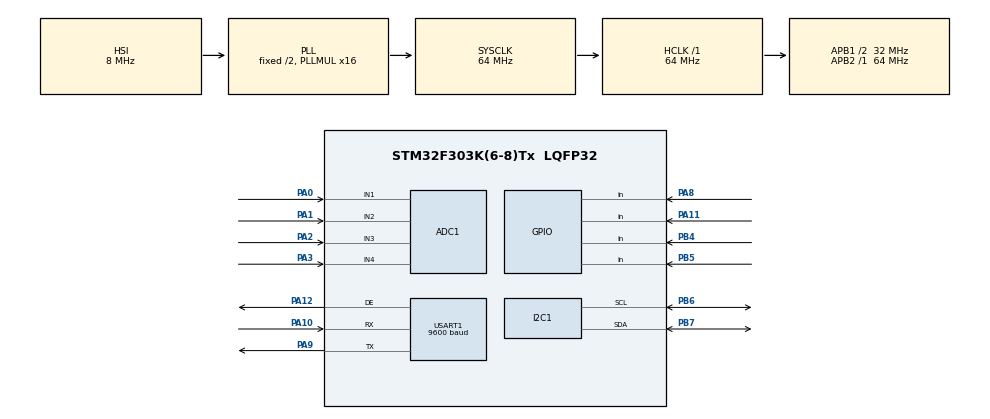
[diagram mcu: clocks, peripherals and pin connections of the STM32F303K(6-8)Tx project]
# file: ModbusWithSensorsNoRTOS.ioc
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ADC1.Channel-1\#ChannelRegularConversion=ADC_CHANNEL_4
ADC1.Channel-2\#ChannelRegularConversion=ADC_CHANNEL_1
ADC1.Channel-3\#ChannelRegularConversion=ADC_CHANNEL_1
ADC1.Channel-4\#ChannelRegularConversion=ADC_CHANNEL_1
ADC1.DMAContinuousRequests=ENABLE
ADC1.EnableAnalogWatchDog1=false
ADC1.NbrOfConversion=4
ADC1.NbrOfConversionFlag=1
ADC1.Offset-1\#ChannelRegularConversion=0
ADC1.Offset-2\#ChannelRegularConversion=0
ADC1.Offset-3\#ChannelRegularConversion=0
ADC1.Offset-4\#ChannelRegularConversion=0
ADC1.OffsetNumber-1\#ChannelRegularConversion=ADC_OFFSET_NONE
ADC1.OffsetNumber-2\#ChannelRegularConversion=ADC_OFFSET_NONE
ADC1.OffsetNumber-3\#ChannelRegularConversion=ADC_OFFSET_NONE
ADC1.OffsetNumber-4\#ChannelRegularConversion=ADC_OFFSET_NONE
ADC1.Rank-1\#ChannelRegularConversion=1
ADC1.Rank-2\#ChannelRegularConversion=2
ADC1.Rank-3\#ChannelRegularConversion=3
ADC1.Rank-4\#ChannelRegularConversion=4
ADC1.SamplingTime-1\#ChannelRegularConversion=ADC_SAMPLETIME_1CYCLE_5
ADC1.SamplingTime-2\#ChannelRegularConversion=ADC_SAMPLETIME_1CYCLE_5
ADC1.SamplingTime-3\#ChannelRegularConversion=ADC_SAMPLETIME_1CYCLE_5
ADC1.SamplingTime-4\#ChannelRegularConversion=ADC_SAMPLETIME_1CYCLE_5
ADC1.SamplingTimeOPAMP-2\#ChannelRegularConversion=ADC_SAMPLETIME_4CYCLES_5
ADC1.SamplingTimeOPAMP-3\#ChannelRegularConversion=ADC_SAMPLETIME_4CYCLES_5
ADC1.SamplingTimeOPAMP-4\#ChannelRegularConversion=ADC_SAMPLETIME_4CYCLES_5
ADC1.SubFamily=STM32F303x8
ADC1.master=1
Dma.ADC1.2.Direction=DMA_PERIPH_TO_MEMORY
Dma.ADC1.2.Instance=DMA1_Channel1
Dma.ADC1.2.MemDataAlignment=DMA_MDATAALIGN_HALFWORD
Dma.ADC1.2.MemInc=DMA_MINC_ENABLE
Dma.ADC1.2.Mode=DMA_CIRCULAR
Dma.ADC1.2.PeriphDataAlignment=DMA_PDATAALIGN_HALFWORD
Dma.ADC1.2.PeriphInc=DMA_PINC_DISABLE
Dma.ADC1.2.Priority=DMA_PRIORITY_LOW
Dma.Request0=USART1_RX
Dma.Request1=USART1_TX
Dma.Request2=ADC1
Dma.USART1_RX.0.Direction=DMA_PERIPH_TO_MEMORY
Dma.USART1_RX.0.Instance=DMA1_Channel5
Dma.USART1_RX.0.MemDataAlignment=DMA_MDATAALIGN_BYTE
Dma.USART1_RX.0.MemInc=DMA_MINC_ENABLE
Dma.USART1_RX.0.Mode=DMA_NORMAL
Dma.USART1_RX.0.PeriphDataAlignment=DMA_PDATAALIGN_BYTE
Dma.USART1_RX.0.PeriphInc=DMA_PINC_DISABLE
Dma.USART1_RX.0.Priority=DMA_PRIORITY_LOW
Dma.USART1_TX.1.Direction=DMA_MEMORY_TO_PERIPH
Dma.USART1_TX.1.Instance=DMA1_Channel4
Dma.USART1_TX.1.MemDataAlignment=DMA_MDATAALIGN_BYTE
Dma.USART1_TX.1.MemInc=DMA_MINC_ENABLE
Dma.USART1_TX.1.Mode=DMA_NORMAL
Dma.USART1_TX.1.PeriphDataAlignment=DMA_PDATAALIGN_BYTE
Dma.USART1_TX.1.PeriphInc=DMA_PINC_DISABLE
Dma.USART1_TX.1.Priority=DMA_PRIORITY_LOW
I2C1.Timing=0x10B17DB5
Mcu.Family=STM32F3
Mcu.Name=STM32F303K(6-8)Tx
Mcu.Package=LQFP32
NVIC.DMA1_Channel1_IRQn=true\:0\:0\:false\:false\:true\:false\:true\:true
NVIC.DMA1_Channel4_IRQn=true\:0\:0\:false\:false\:true\:false\:true\:true
NVIC.DMA1_Channel5_IRQn=true\:0\:0\:false\:false\:true\:false\:true\:true
NVIC.I2C1_ER_IRQn=true\:0\:0\:false\:false\:true\:true\:true\:true
NVIC.PriorityGroup=NVIC_PRIORITYGROUP_4
NVIC.TIM3_IRQn=true\:0\:0\:false\:false\:true\:true\:true\:true
NVIC.USART1_IRQn=true\:0\:0\:false\:false\:true\:true\:true\:true
PA0.Mode=IN1-Single-Ended
PA0.Signal=ADC1_IN1
PA1.Mode=IN2-Single-Ended
PA1.Signal=ADC1_IN2
PA10.Mode=Asynchronous
PA10.Signal=USART1_RX
PA11.Signal=GPIO_Input
PA12.Mode=Hardware Flow Control (RS485)
PA12.Signal=USART1_DE
PA2.Mode=IN3-Single-Ended
PA2.Signal=ADC1_IN3
PA3.Mode=IN4-Single-Ended
PA3.Signal=ADC1_IN4
PA8.Signal=GPIO_Input
PA9.Mode=Asynchronous
PA9.Signal=USART1_TX
PB4.Signal=GPIO_Input
PB5.Signal=GPIO_Input
PB6.GPIO_Pu=GPIO_PULLUP
PB6.Mode=I2C
PB6.Signal=I2C1_SCL
PB7.GPIO_Pu=GPIO_PULLUP
PB7.Mode=I2C
PB7.Signal=I2C1_SDA
ProjectManager.HeapSize=0x200
ProjectManager.StackSize=0x400
ProjectManager.TargetToolchain=STM32CubeIDE
RCC.ADC12PRES=RCC_ADC12PLLCLK_DIV2
RCC.AHBFreq_Value=64000000
RCC.APB1CLKDivider=RCC_HCLK_DIV2
RCC.APB1Freq_Value=32000000
RCC.APB1TimFreq_Value=64000000
RCC.APB2Freq_Value=64000000
RCC.APB2TimFreq_Value=64000000
RCC.CortexFreq_Value=64000000
RCC.HCLKFreq_Value=64000000
RCC.HSE_VALUE=8000000
RCC.HSI_VALUE=8000000
RCC.I2c1ClockSelection=RCC_I2C1CLKSOURCE_SYSCLK
RCC.PLLMUL=RCC_PLL_MUL16
RCC.SYSCLKFreq_VALUE=64000000
RCC.SYSCLKSourceVirtual=RCC_SYSCLKSOURCE_PLLCLK
RCC.Usart1ClockSelection=RCC_USART1CLKSOURCE_SYSCLK
TIM3.AutoReloadPreload=TIM_AUTORELOAD_PRELOAD_ENABLE
TIM3.Period=999
TIM3.Prescaler=63999
USART1.BaudRate=9600
USART1.VirtualMode-Asynchronous=VM_ASYNC
USART1.VirtualMode-Hardware\ Flow\ Control\ (RS485)=VM_ASYNC
VP_TIM3_VS_ClockSourceINT.Mode=Internal
board=custom

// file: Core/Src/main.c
/* USER CODE BEGIN Header */
/**
 ******************************************************************************
 * @file           : main.c
 * @brief          : Main program body
 ******************************************************************************
 * @attention
 *
 * Copyright (c) 2025 STMicroelectronics.
 * All rights reserved.
 *
 * This software is licensed under terms that can be found in the LICENSE file
 * in the root directory of this software component.
 * If no LICENSE file comes with this software, it is provided AS-IS.
 *
 ******************************************************************************
 */
/* USER CODE END Header */
#include "main.h"

/* USER CODE BEGIN Includes */
#include "sensors.h"
#include "modbus_init.h"
#include "modbus_device.h"
#include "uart_callbacks.h"
/* USER CODE END Includes */

ADC_HandleTypeDef hadc1;
DMA_HandleTypeDef hdma_adc1;

I2C_HandleTypeDef hi2c1;

TIM_HandleTypeDef htim3;

UART_HandleTypeDef huart1;
DMA_HandleTypeDef hdma_usart1_rx;
DMA_HandleTypeDef hdma_usart1_tx;

/* USER CODE BEGIN PV */
volatile uint8_t timer_flag = 0;
volatile uint32_t sensor_update_counter = 0;
/* USER CODE END PV */

void SystemClock_Config(void);
static void MX_GPIO_Init(void);
static void MX_DMA_Init(void);
static void MX_I2C1_Init(void);
static void MX_USART1_UART_Init(void);
static void MX_ADC1_Init(void);
static void MX_TIM3_Init(void);
/* USER CODE BEGIN PFP */
void ModbusRecovery_MarkActivity(void);
void ModbusRecovery_MarkError(void);
uint32_t mbus_tickcount(void);
/* USER CODE END PFP */

/* USER CODE BEGIN 0 */

/**
 * @brief  Modbus activity marker (called from UART callbacks)
 * @param  None
 * @retval None
 */
void ModbusRecovery_MarkActivity(void)
{
  // Mark successful Modbus activity
  // Could implement communication monitoring here
}

/**
 * @brief  Modbus error marker (called from UART callbacks)
 * @param  None
 * @retval None
 */
void ModbusRecovery_MarkError(void)
{
  // Mark Modbus communication error
  // Could implement error recovery here
}

/**
 * @brief  Get system tick count for Modbus timing
 * @param  None
 * @retval Tick count in milliseconds
 */
uint32_t mbus_tickcount(void)
{
  return HAL_GetTick();
}

/**
 * @brief  Timer 3 period elapsed callback (1 second timer)
 * @param  htim: Timer handle
 * @retval None
 */
void HAL_TIM_PeriodElapsedCallback(TIM_HandleTypeDef *htim)
{
  if (htim == &htim3)
  {
    // Set timer flag for main loop processing
    timer_flag = 1;
    sensor_update_counter++;

    // Toggle LED to show system activity
    HAL_GPIO_TogglePin(GPIOB, GPIO_PIN_3);
  }
}

/* USER CODE END 0 */

int main(void)
{

  /* MCU Configuration--------------------------------------------------------*/

  /* Reset of all peripherals, Initializes the Flash interface and the Systick. */
  HAL_Init();

  /* Configure the system clock */
  SystemClock_Config();

  /* Initialize all configured peripherals */
  MX_GPIO_Init();
  MX_DMA_Init();
  MX_I2C1_Init();
  MX_USART1_UART_Init();
  MX_ADC1_Init();
  MX_TIM3_Init();
  /* USER CODE BEGIN 2 */

  // Initialize sensors (MQ2 + SCD30)
  Sensors_Init();

  // Initialize Modbus RTU slave
  Modbus_Init();

  // Initialize UART callbacks
  UART_Callbacks_Init();

  // Start the 1-second timer for sensor updates
  HAL_TIM_Base_Start_IT(&htim3);

  // Initial sensor update
  Modbus_Device_UpdateSensors();

  /* USER CODE END 2 */

  /* Infinite loop */
  while (1)
  {

    /* USER CODE BEGIN 3 */

    // Check if 1-second timer has elapsed
    if (timer_flag)
    {
      timer_flag = 0; // Clear flag

      // Update all sensor readings and map to Modbus registers
      Modbus_Device_UpdateSensors();

      // Process any pending Modbus operations
      Modbus_Process();

      // Optional: Debug output every 10 seconds
      // if (sensor_update_counter % 10 == 0)
      // {
      //     Modbus_Device_DebugArray();
      // }
    }

    // Main loop can perform other tasks here
    // Keep this loop fast to maintain Modbus responsiveness
  }
  /* USER CODE END 3 */
}

void SystemClock_Config(void)
{
  RCC_OscInitTypeDef RCC_OscInitStruct = {0};
  RCC_ClkInitTypeDef RCC_ClkInitStruct = {0};
  RCC_PeriphCLKInitTypeDef PeriphClkInit = {0};

  /** Initializes the RCC Oscillators according to the specified parameters
  * in the RCC_OscInitTypeDef structure.
  */
  RCC_OscInitStruct.OscillatorType = RCC_OSCILLATORTYPE_HSI;
  RCC_OscInitStruct.HSIState = RCC_HSI_ON;
  RCC_OscInitStruct.HSICalibrationValue = RCC_HSICALIBRATION_DEFAULT;
  RCC_OscInitStruct.PLL.PLLState = RCC_PLL_ON;
  RCC_OscInitStruct.PLL.PLLSource = RCC_PLLSOURCE_HSI;
  RCC_OscInitStruct.PLL.PLLMUL = RCC_PLL_MUL16;
  if (HAL_RCC_OscConfig(&RCC_OscInitStruct) != HAL_OK)
  {
    Error_Handler();
  }

  /** Initializes the CPU, AHB and APB buses clocks
  */
  RCC_ClkInitStruct.ClockType = RCC_CLOCKTYPE_HCLK|RCC_CLOCKTYPE_SYSCLK
                              |RCC_CLOCKTYPE_PCLK1|RCC_CLOCKTYPE_PCLK2;
  RCC_ClkInitStruct.SYSCLKSource = RCC_SYSCLKSOURCE_PLLCLK;
  RCC_ClkInitStruct.AHBCLKDivider = RCC_SYSCLK_DIV1;
  RCC_ClkInitStruct.APB1CLKDivider = RCC_HCLK_DIV2;
  RCC_ClkInitStruct.APB2CLKDivider = RCC_HCLK_DIV1;

  if (HAL_RCC_ClockConfig(&RCC_ClkInitStruct, FLASH_LATENCY_2) != HAL_OK)
  {
    Error_Handler();
  }
  PeriphClkInit.PeriphClockSelection = RCC_PERIPHCLK_USART1|RCC_PERIPHCLK_I2C1
                              |RCC_PERIPHCLK_ADC12;
  PeriphClkInit.Usart1ClockSelection = RCC_USART1CLKSOURCE_SYSCLK;
  PeriphClkInit.Adc12ClockSelection = RCC_ADC12PLLCLK_DIV2;
  PeriphClkInit.I2c1ClockSelection = RCC_I2C1CLKSOURCE_SYSCLK;
  if (HAL_RCCEx_PeriphCLKConfig(&PeriphClkInit) != HAL_OK)
  {
    Error_Handler();
  }
}

static void MX_ADC1_Init(void)
{

  ADC_MultiModeTypeDef multimode = {0};
  ADC_ChannelConfTypeDef sConfig = {0};

  /** Common config
  */
  hadc1.Instance = ADC1;
  hadc1.Init.ClockPrescaler = ADC_CLOCK_ASYNC_DIV1;
  hadc1.Init.Resolution = ADC_RESOLUTION_12B;
  hadc1.Init.ScanConvMode = ADC_SCAN_ENABLE;
  hadc1.Init.ContinuousConvMode = DISABLE;
  hadc1.Init.DiscontinuousConvMode = DISABLE;
  hadc1.Init.ExternalTrigConvEdge = ADC_EXTERNALTRIGCONVEDGE_NONE;
  hadc1.Init.ExternalTrigConv = ADC_SOFTWARE_START;
  hadc1.Init.DataAlign = ADC_DATAALIGN_RIGHT;
  hadc1.Init.NbrOfConversion = 4;
  hadc1.Init.DMAContinuousRequests = ENABLE;
  hadc1.Init.EOCSelection = ADC_EOC_SINGLE_CONV;
  hadc1.Init.LowPowerAutoWait = DISABLE;
  hadc1.Init.Overrun = ADC_OVR_DATA_OVERWRITTEN;
  if (HAL_ADC_Init(&hadc1) != HAL_OK)
  {
    Error_Handler();
  }

  /** Configure the ADC multi-mode
  */
  multimode.Mode = ADC_MODE_INDEPENDENT;
  if (HAL_ADCEx_MultiModeConfigChannel(&hadc1, &multimode) != HAL_OK)
  {
    Error_Handler();
  }

  /** Configure Regular Channel
  */
  sConfig.Channel = ADC_CHANNEL_4;
  sConfig.Rank = ADC_REGULAR_RANK_1;
  sConfig.SingleDiff = ADC_SINGLE_ENDED;
  sConfig.SamplingTime = ADC_SAMPLETIME_1CYCLE_5;
  sConfig.OffsetNumber = ADC_OFFSET_NONE;
  sConfig.Offset = 0;
  if (HAL_ADC_ConfigChannel(&hadc1, &sConfig) != HAL_OK)
  {
    Error_Handler();
  }

  /** Configure Regular Channel
  */
  sConfig.Channel = ADC_CHANNEL_1;
  sConfig.Rank = ADC_REGULAR_RANK_2;
  if (HAL_ADC_ConfigChannel(&hadc1, &sConfig) != HAL_OK)
  {
    Error_Handler();
  }

  /** Configure Regular Channel
  */
  sConfig.Rank = ADC_REGULAR_RANK_3;
  if (HAL_ADC_ConfigChannel(&hadc1, &sConfig) != HAL_OK)
  {
    Error_Handler();
  }

  /** Configure Regular Channel
  */
  sConfig.Rank = ADC_REGULAR_RANK_4;
  if (HAL_ADC_ConfigChannel(&hadc1, &sConfig) != HAL_OK)
  {
    Error_Handler();
  }

}

static void MX_I2C1_Init(void)
{

  hi2c1.Instance = I2C1;
  hi2c1.Init.Timing = 0x10B17DB5;
  hi2c1.Init.OwnAddress1 = 0;
  hi2c1.Init.AddressingMode = I2C_ADDRESSINGMODE_7BIT;
  hi2c1.Init.DualAddressMode = I2C_DUALADDRESS_DISABLE;
  hi2c1.Init.OwnAddress2 = 0;
  hi2c1.Init.OwnAddress2Masks = I2C_OA2_NOMASK;
  hi2c1.Init.GeneralCallMode = I2C_GENERALCALL_DISABLE;
  hi2c1.Init.NoStretchMode = I2C_NOSTRETCH_DISABLE;
  if (HAL_I2C_Init(&hi2c1) != HAL_OK)
  {
    Error_Handler();
  }

  /** Configure Analogue filter
  */
  if (HAL_I2CEx_ConfigAnalogFilter(&hi2c1, I2C_ANALOGFILTER_ENABLE) != HAL_OK)
  {
    Error_Handler();
  }

  /** Configure Digital filter
  */
  if (HAL_I2CEx_ConfigDigitalFilter(&hi2c1, 0) != HAL_OK)
  {
    Error_Handler();
  }

}

static void MX_TIM3_Init(void)
{

  TIM_ClockConfigTypeDef sClockSourceConfig = {0};
  TIM_MasterConfigTypeDef sMasterConfig = {0};

  htim3.Instance = TIM3;
  htim3.Init.Prescaler = 63999;
  htim3.Init.CounterMode = TIM_COUNTERMODE_UP;
  htim3.Init.Period = 999;
  htim3.Init.ClockDivision = TIM_CLOCKDIVISION_DIV1;
  htim3.Init.AutoReloadPreload = TIM_AUTORELOAD_PRELOAD_ENABLE;
  if (HAL_TIM_Base_Init(&htim3) != HAL_OK)
  {
    Error_Handler();
  }
  sClockSourceConfig.ClockSource = TIM_CLOCKSOURCE_INTERNAL;
  if (HAL_TIM_ConfigClockSource(&htim3, &sClockSourceConfig) != HAL_OK)
  {
    Error_Handler();
  }
  sMasterConfig.MasterOutputTrigger = TIM_TRGO_RESET;
  sMasterConfig.MasterSlaveMode = TIM_MASTERSLAVEMODE_DISABLE;
  if (HAL_TIMEx_MasterConfigSynchronization(&htim3, &sMasterConfig) != HAL_OK)
  {
    Error_Handler();
  }

}

static void MX_USART1_UART_Init(void)
{

  huart1.Instance = USART1;
  huart1.Init.BaudRate = 9600;
  huart1.Init.WordLength = UART_WORDLENGTH_8B;
  huart1.Init.StopBits = UART_STOPBITS_1;
  huart1.Init.Parity = UART_PARITY_NONE;
  huart1.Init.Mode = UART_MODE_TX_RX;
  huart1.Init.HwFlowCtl = UART_HWCONTROL_NONE;
  huart1.Init.OverSampling = UART_OVERSAMPLING_16;
  huart1.Init.OneBitSampling = UART_ONE_BIT_SAMPLE_DISABLE;
  huart1.AdvancedInit.AdvFeatureInit = UART_ADVFEATURE_NO_INIT;
  if (HAL_RS485Ex_Init(&huart1, UART_DE_POLARITY_HIGH, 0, 0) != HAL_OK)
  {
    Error_Handler();
  }

}

static void MX_DMA_Init(void)
{

  /* DMA controller clock enable */
  __HAL_RCC_DMA1_CLK_ENABLE();

  /* DMA interrupt init */
  /* DMA1_Channel1_IRQn interrupt configuration */
  HAL_NVIC_SetPriority(DMA1_Channel1_IRQn, 0, 0);
  HAL_NVIC_EnableIRQ(DMA1_Channel1_IRQn);
  /* DMA1_Channel4_IRQn interrupt configuration */
  HAL_NVIC_SetPriority(DMA1_Channel4_IRQn, 0, 0);
  HAL_NVIC_EnableIRQ(DMA1_Channel4_IRQn);
  /* DMA1_Channel5_IRQn interrupt configuration */
  HAL_NVIC_SetPriority(DMA1_Channel5_IRQn, 0, 0);
  HAL_NVIC_EnableIRQ(DMA1_Channel5_IRQn);

}

static void MX_GPIO_Init(void)
{
  GPIO_InitTypeDef GPIO_InitStruct = {0};

  /* GPIO Ports Clock Enable */
  __HAL_RCC_GPIOA_CLK_ENABLE();
  __HAL_RCC_GPIOB_CLK_ENABLE();

  /*Configure GPIO pins : PA8 PA11 */
  GPIO_InitStruct.Pin = GPIO_PIN_8|GPIO_PIN_11;
  GPIO_InitStruct.Mode = GPIO_MODE_INPUT;
  GPIO_InitStruct.Pull = GPIO_NOPULL;
  HAL_GPIO_Init(GPIOA, &GPIO_InitStruct);

  /*Configure GPIO pins : PB4 PB5 */
  GPIO_InitStruct.Pin = GPIO_PIN_4|GPIO_PIN_5;
  GPIO_InitStruct.Mode = GPIO_MODE_INPUT;
  GPIO_InitStruct.Pull = GPIO_NOPULL;
  HAL_GPIO_Init(GPIOB, &GPIO_InitStruct);

}

void Error_Handler(void)
{
  __disable_irq();
  while (1)
  {
  }
}
